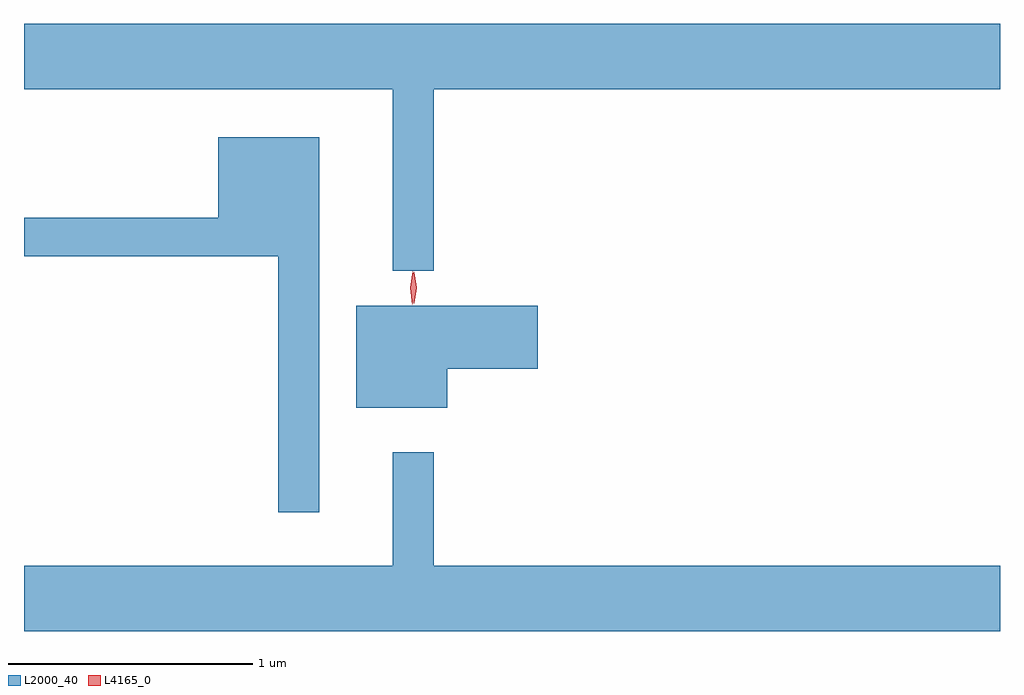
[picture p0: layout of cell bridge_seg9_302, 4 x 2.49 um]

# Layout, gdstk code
import gdstk
lib = gdstk.Library(unit=1e-6, precision=1e-09)
def P(c, l, *ps):  # polygons
    for p in ps: c.add(gdstk.Polygon(p, *l))
L2000_40 = (2000, 40)
L4165_0 = (4165, 0)

bridge_seg9_302 = lib.new_cell('bridge_seg9_302')
P(bridge_seg9_302, L2000_40, [(1005.759,2060.636),(1008.079,2060.636),(1008.079,2060.904),(1004.079,2060.904),(1004.079,2060.636),(1005.591,2060.636),(1005.591,2059.893),(1005.759,2059.893)],
  [(1005.289,2060.439),(1004.876,2060.439),(1004.876,2060.109),(1004.079,2060.109),(1004.079,2059.951),(1005.121,2059.951),(1005.121,2058.903),(1005.289,2058.903)],
  [(1005.814,2059.491),(1006.184,2059.491),(1006.184,2059.749),(1005.441,2059.749),(1005.441,2059.331),(1005.814,2059.331)],
  [(1008.079,2058.684),(1005.759,2058.684),(1005.759,2059.148),(1005.591,2059.148),(1005.591,2058.684),(1004.079,2058.684),(1004.079,2058.416),(1008.079,2058.416)])
P(bridge_seg9_302, L4165_0, [(1005.67,2059.754),(1005.662,2059.822),(1005.672,2059.89),(1005.672,2059.89),(1005.673,2059.89),(1005.682,2059.822),(1005.671,2059.754),(1005.671,2059.754)],
  [(1005.677,2059.76),(1005.668,2059.823),(1005.677,2059.886),(1005.678,2059.887),(1005.678,2059.886),(1005.688,2059.823),(1005.678,2059.76),(1005.678,2059.76)])

lib.write_gds('bridge_seg9_302.gds')
